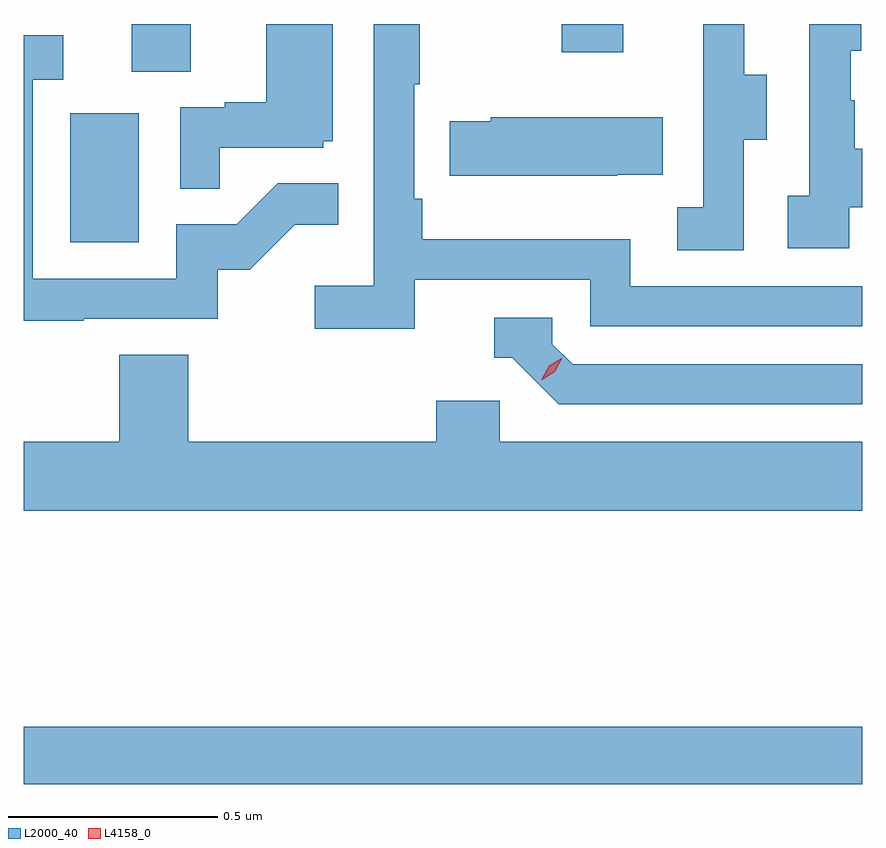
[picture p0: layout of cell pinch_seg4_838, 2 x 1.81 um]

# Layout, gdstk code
import gdstk
lib = gdstk.Library(unit=1e-6, precision=1e-09)
def R(c, l, rs):  # rectangles x0, y0, x1, y1
    for r in rs: c.add(gdstk.rectangle(r[:2], r[2:], *l))
def P(c, l, *ps):  # polygons
    for p in ps: c.add(gdstk.Polygon(p, *l))
L2000_40 = (2000, 40)
L4158_0 = (4158, 0)

pinch_seg4_838 = lib.new_cell('pinch_seg4_838')
R(pinch_seg4_838, L2000_40, [(820.997,804.16,822.997,804.296), (821.108,805.452,821.272,805.759), (821.255,805.858,821.395,805.972), (822.28,805.905,822.427,805.972)])
P(pinch_seg4_838, L2000_40, [(821.93,805.362),(822.348,805.362),(822.348,805.251),(822.997,805.251),(822.997,805.347),(822.444,805.347),(822.444,805.459),(821.948,805.459),(821.948,805.555),(821.928,805.555),(821.928,805.828),(821.941,805.828),(821.941,805.972),(821.832,805.972),(821.832,805.348),(821.691,805.348),(821.691,805.246),(821.93,805.246)],
  [(822.966,805.535),(822.997,805.535),(822.997,805.675),(822.979,805.675),(822.979,805.79),(822.969,805.79),(822.969,805.908),(822.994,805.908),(822.994,805.972),(822.87,805.972),(822.87,805.562),(822.819,805.562),(822.819,805.437),(822.966,805.437)],
  [(822.714,805.696),(822.769,805.696),(822.769,805.851),(822.715,805.851),(822.715,805.972),(822.617,805.972),(822.617,805.839),(822.618,805.839),(822.618,805.535),(822.555,805.535),(822.555,805.432),(822.714,805.432)],
  [(821.465,805.677),(821.712,805.677),(821.712,805.692),(821.734,805.692),(821.734,805.972),(821.576,805.972),(821.576,805.786),(821.477,805.786),(821.477,805.773),(821.37,805.773),(821.37,805.579),(821.465,805.579)],
  [(821.141,805.269),(821.46,805.269),(821.46,805.386),(821.536,805.386),(821.643,805.493),(821.747,805.493),(821.747,805.592),(821.603,805.592),(821.505,805.494),(821.361,805.494),(821.361,805.365),(821.019,805.365),(821.019,805.839),(821.092,805.839),(821.092,805.945),(820.997,805.945),(820.997,805.264),(821.141,805.264)],
  [(822.413,805.613),(822.521,805.613),(822.521,805.75),(822.111,805.75),(822.111,805.74),(822.013,805.74),(822.013,805.61),(822.413,805.61)],
  [(822.997,805.161),(822.306,805.161),(822.258,805.209),(822.258,805.272),(822.119,805.272),(822.119,805.176),(822.162,805.176),(822.273,805.065),(822.997,805.065)],
  [(822.997,804.976),(822.132,804.976),(822.132,805.074),(821.981,805.074),(821.981,804.976),(821.39,804.976),(821.39,805.184),(821.225,805.184),(821.225,804.976),(820.997,804.976),(820.997,804.812),(822.997,804.812)])
P(pinch_seg4_838, L4158_0, [(822.233,805.124),(822.233,805.125),(822.25,805.157),(822.281,805.176),(822.281,805.176),(822.281,805.176),(822.264,805.143),(822.234,805.124)])

lib.write_gds('pinch_seg4_838.gds')
